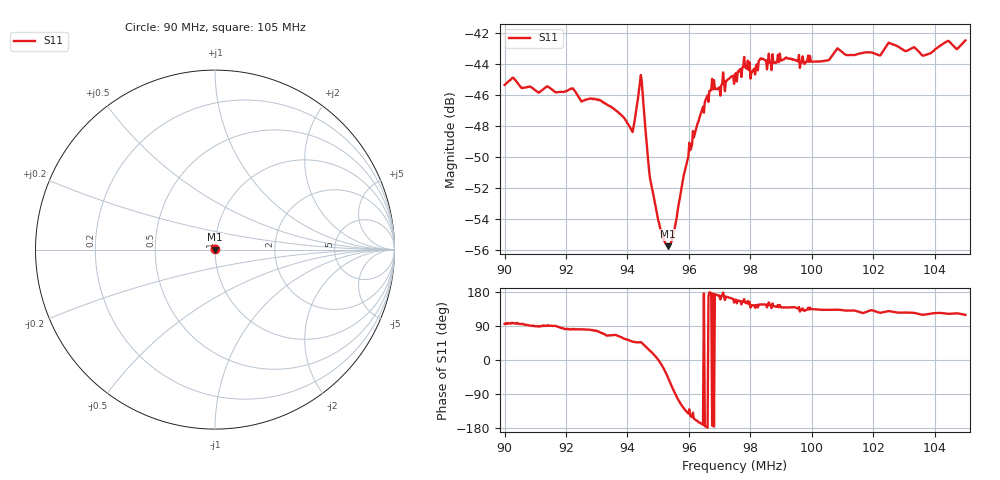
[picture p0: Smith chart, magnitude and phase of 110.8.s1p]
# HZ S RI R 50
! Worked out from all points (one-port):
!   505 points, 90 MHz to 105 MHz, reference 50 ohm
!   lowest |S11| = -55.8 dB at 95.33 MHz (marker M1), VSWR 1.00, Z = 50.1 - j0.121 ohm
!   |S11| at or under -10 dB: start of sweep to end of sweep
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9e7  -0.000504 0.00536
9.026786e7  -0.000707 0.00564
9.187501e7  0.000547 0.00509
9.220239e7  0.000737 0.00519
9.250001e7  0.00074 0.0047
9.375001e7  0.00207 0.00383
9.416668e7  0.00253 0.00283
9.443454e7  0.00395 0.00425
9.449406e7  0.00368 0.00345
9.467263e7  0.00269 0.00149
9.476192e7  0.00242 0.000977
9.505954e7  0.00185 -0.000208
9.53274e7  0.00109 -0.0012
9.547621e7  0.000425 -0.0017
9.562502e7  -0.000398 -0.00205
9.607145e7  -0.00289 -0.00172
9.672621e7  -0.00519 0.00028
9.750002e7  -0.00545 0.00206
9.785717e7  -0.00532 0.00302
9.80655e7  -0.00483 0.00347
9.836312e7  -0.00549 0.00359
9.937503e7  -0.00489 0.00428
1.0125e8  -0.00437 0.00512
1.022024e8  -0.00383 0.00551
1.025298e8  -0.0046 0.00574
1.03125e8  -0.00401 0.0057
1.036608e8  -0.00333 0.00583
1.05e8  -0.00365 0.00655
